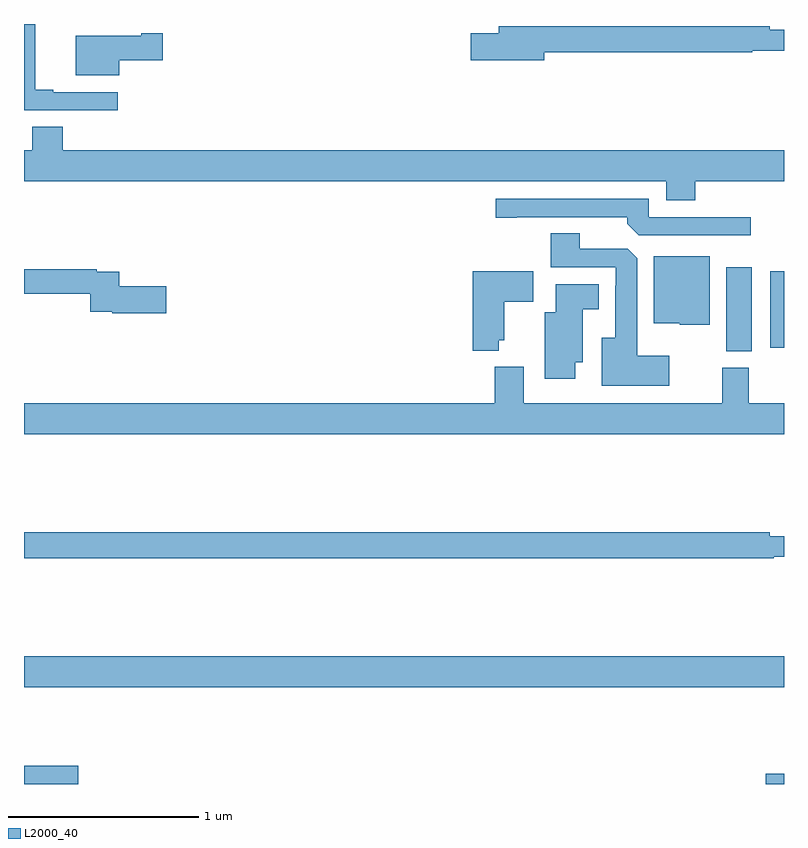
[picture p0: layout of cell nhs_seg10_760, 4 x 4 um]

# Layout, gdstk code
import gdstk
lib = gdstk.Library(unit=1e-6, precision=1e-09)
def R(c, l, rs):  # rectangles x0, y0, x1, y1
    for r in rs: c.add(gdstk.rectangle(r[:2], r[2:], *l))
def P(c, l, *ps):  # polygons
    for p in ps: c.add(gdstk.Polygon(p, *l))
L2000_40 = (2000, 40)

nhs_seg10_760 = lib.new_cell('nhs_seg10_760')
R(nhs_seg10_760, L2000_40, [(149,1274.5,149.285,1274.596), (152.904,1274.5,153,1274.553), (149,1275.008,153,1275.172), (152.696,1276.777,152.83,1277.221), (152.927,1276.797,153,1277.2)])
P(nhs_seg10_760, L2000_40, [(149.494,1278.141),(149.155,1278.141),(149.155,1278.154),(149.06,1278.154),(149.06,1278.5),(149,1278.5),(149,1278.045),(149.494,1278.045)],
  [(151.738,1278.352),(152.834,1278.352),(152.834,1278.36),(153,1278.36),(153,1278.469),(152.924,1278.469),(152.924,1278.488),(151.499,1278.488),(151.499,1278.452),(151.35,1278.452),(151.35,1278.31),(151.738,1278.31)],
  [(149.5,1278.31),(149.731,1278.31),(149.731,1278.452),(149.618,1278.452),(149.618,1278.439),(149.273,1278.439),(149.273,1278.23),(149.5,1278.23)],
  [(152.534,1277.672),(153,1277.672),(153,1277.836),(149.204,1277.836),(149.204,1277.96),(149.044,1277.96),(149.044,1277.836),(149,1277.836),(149,1277.672),(152.381,1277.672),(152.381,1277.573),(152.534,1277.573)],
  [(152.824,1277.484),(152.289,1277.484),(152.289,1277.58),(151.482,1277.58),(151.482,1277.479),(151.594,1277.479),(151.594,1277.484),(152.174,1277.484),(152.174,1277.45),(152.235,1277.388),(152.824,1277.388)],
  [(152.395,1276.753),(152.227,1276.753),(152.227,1277.267),(152.178,1277.316),(151.924,1277.316),(151.924,1277.399),(151.772,1277.399),(151.772,1277.22),(152.115,1277.22),(152.115,1277.123),(152.111,1277.123),(152.111,1276.849),(152.042,1276.849),(152.042,1276.595),(152.395,1276.595)],
  [(152.608,1277.278),(152.315,1277.278),(152.315,1276.925),(152.451,1276.925),(152.451,1276.916),(152.608,1276.916)],
  [(149.749,1277.12),(149.501,1277.12),(149.501,1277.196),(149.384,1277.196),(149.384,1277.209),(149,1277.209),(149,1277.08),(149.348,1277.08),(149.348,1276.985),(149.464,1276.985),(149.464,1276.978),(149.749,1276.978)],
  [(151.498,1276.835),(151.528,1276.835),(151.528,1277.038),(151.681,1277.038),(151.681,1277.2),(151.361,1277.2),(151.361,1276.781),(151.498,1276.781)],
  [(151.9,1276.721),(151.942,1276.721),(151.942,1277),(152.026,1277),(152.026,1277.131),(151.799,1277.131),(151.799,1276.984),(151.742,1276.984),(151.742,1276.632),(151.9,1276.632)],
  [(153,1276.504),(152.815,1276.504),(152.815,1276.692),(152.675,1276.692),(152.675,1276.504),(151.63,1276.504),(151.63,1276.696),(151.478,1276.696),(151.478,1276.504),(149,1276.504),(149,1276.34),(153,1276.34)],
  [(152.945,1275.696),(153,1275.696),(153,1275.805),(152.924,1275.805),(152.924,1275.824),(149,1275.824),(149,1275.688),(152.945,1275.688)])

lib.write_gds('nhs_seg10_760.gds')
